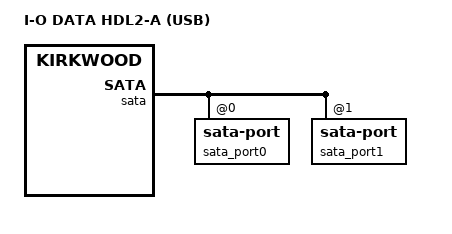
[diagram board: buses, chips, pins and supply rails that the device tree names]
// SPDX-License-Identifier: GPL-2.0-or-later OR MIT

#include "kirkwood-hdlx-a.dtsi"

/ {
	model = "I-O DATA HDL2-A (USB)";
	compatible = "iodata,hdl2-a-usb", "marvell,kirkwood-88f6282", "marvell,kirkwood";

	chosen {
		/*
		 * Kernel and rootfs are stored to the storage connected to the
		 * SATA ports (port1 or port2) or USB port.
		 * The path to the partition (/dev/sdXN) which contains rootfs
		 * data will be assigned dynamically, so GPT partition UUID or
		 * MSDOS signature is required instead.
		 */
		bootargs-append = " earlycon root=PARTUUID=5452574f-02 rootwait=20";
	};

	thermal-zones {
		hdd0-thermal {
			polling-delay = <20000>;
			polling-delay-passive = <2000>;

			thermal-sensors = <&sata_port0>;

			trips {
				passive {
					temperature = <45000>;
					hysteresis = <2000>;
					type = "passive";
				};

				hot {
					temperature = <50000>;
					hysteresis = <2000>;
					type = "hot";
				};

				critical {
					temperature = <60000>;
					hysteresis = <6000>;
					type = "critical";
				};
			};
		};

		hdd1-thermal {
			polling-delay = <20000>;
			polling-delay-passive = <2000>;

			thermal-sensors = <&sata_port1>;

			trips {
				passive {
					temperature = <45000>;
					hysteresis = <2000>;
					type = "passive";
				};

				hot {
					temperature = <50000>;
					hysteresis = <2000>;
					type = "hot";
				};

				critical {
					temperature = <60000>;
					hysteresis = <6000>;
					type = "critical";
				};
			};
		};
	};
};

&sata {
	status = "okay";
	nr-ports = <2>;
	#address-cells = <1>;
	#size-cells = <0>;

	sata_port0: sata-port@0 {
		reg = <0>;
		#thermal-sensor-cells = <0>;
	};

	sata_port1: sata-port@1 {
		reg = <1>;
		#thermal-sensor-cells = <0>;
	};
};
